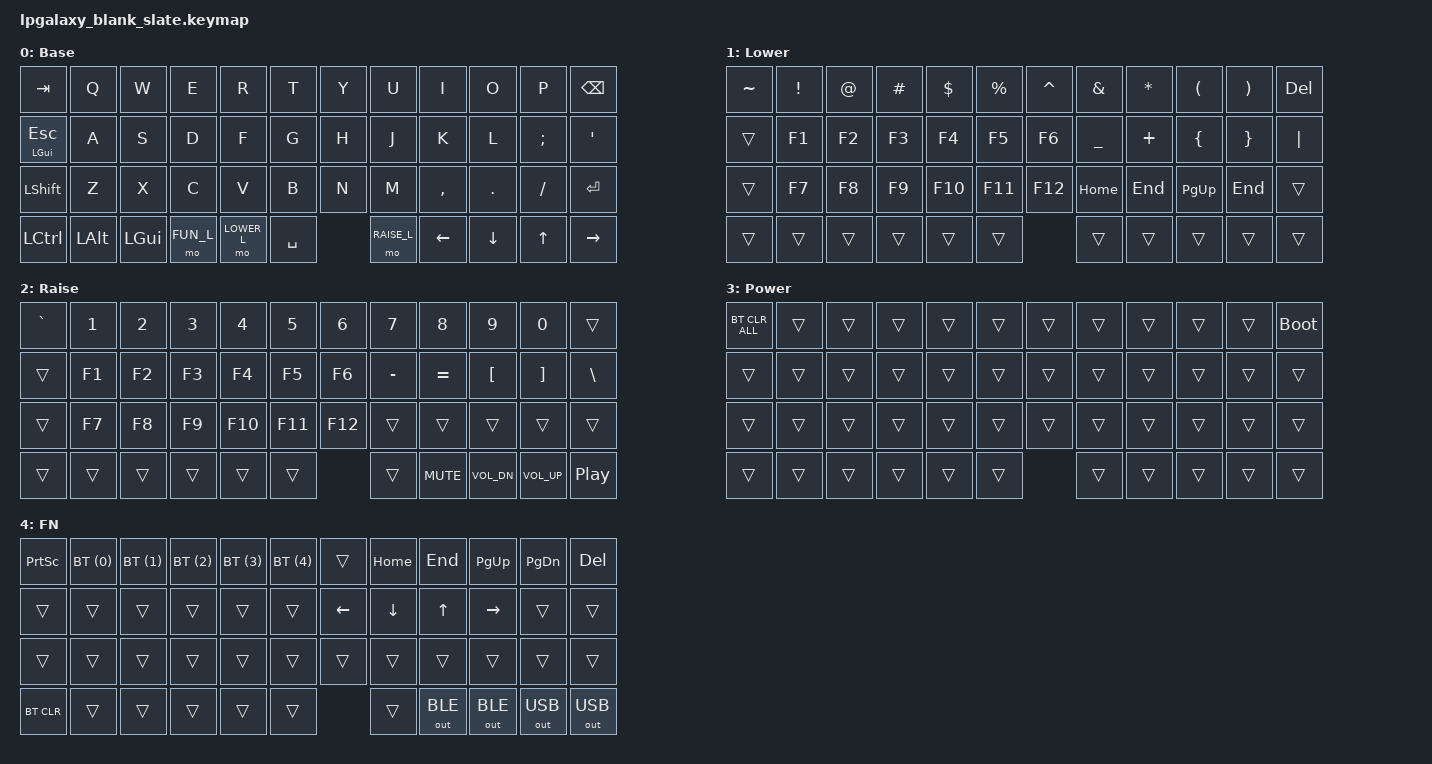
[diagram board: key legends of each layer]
/*
 * Copyright (c) 2022 Pete Johanson
 *
 * SPDX-License-Identifier: MIT
 */

#include <behaviors.dtsi>
#include <dt-bindings/zmk/keys.h>
#include <dt-bindings/zmk/bt.h>
#include <dt-bindings/zmk/outputs.h>

// #define TBLE_ORTHO   1
#define TBLE_MIT     1
// #define TBLE_DUAL_2U 1

#define LOWER_L 1
#define RAISE_L 2
#define POWER_L 3
#define FUN_L 4

// Using layer taps on thumbs, having quick tap as well helps w/ repeating space/backspace
&lt { quick_tap_ms = <200>; };

#define BT(n) BT_SEL n

/ {
    chosen {
       zmk,physical-layout =
#ifdef TBLE_DUAL_2U
                       &layout_ortho_4x12_2x2u;
#elif defined(TBLE_MIT)
                       &layout_ortho_4x12_1x2u;
#else
                       &layout_ortho_4x12_all1u;
#endif
    };

    macros {
      ZMK_MACRO(thumbs_up,
		wait-ms = <1>;
		tap-ms = <5>;
                bindings = <&kp PLUS &kp COLON &kp PLUS &kp N1 &kp COLON &kp RET>;
		)
    };
    
    tap_dances {
    	shifty: shift_caps_word {
            compatible = "zmk,behavior-tap-dance";
            label = "TD_SHIFTY";
            #binding-cells = <0>;
            tapping-term-ms = <150>;
            bindings = <&kp LSHFT>, <&caps_word>;
        };
    };

    conditional_layers {
        compatible = "zmk,conditional-layers";
        tri {
            if-layers = <1 2>;
            then-layer = <3>;
        };
    };

    keymap {
        compatible = "zmk,keymap";

/* Qwerty
 * ,-------------------------------------------------------------------------------------.
 * |  Tab  |   Q  |   W   |   E  |   R  |   T  |   Y  |   U  |   I  |   O  |   P  | Bksp |
 * |-------+------+-------+------+------+------+------+------+------+------+------+------|
 * |GUI/Esc|   A  |   S   |   D  |   F  |   G  |   H  |   J  |   K  |   L  |   ;  |  "   |
 * |-------+------+-------+------+------+------+------+------+------+------+------+------|
 * | Shift |   Z  |   X   |   C  |   V  |   B  |   N  |   M  |   ,  |   .  |   /  |Enter |
 * |-------+------+-------+------+------+------+------+------+------+------+------+------|
 * | Ctrl  | Alt  |NUM/GUI|  FN  |Lower |    Space    |Raise | Left | Down |  Up  |Right |
 * `-------------------------------------------------------------------------------------'
 */
        base_layer {
            label = "Base";
            bindings = <
 &kp TAB        &kp Q      &kp W      &kp E       &kp R          &kp T          &kp Y            &kp U          &kp I       &kp O      &kp P         &kp BKSP
 &mt LGUI ESC   &kp A      &kp S      &kp D       &kp F          &kp G          &kp H            &kp J          &kp K       &kp L      &kp SEMI      &kp QUOT
 &kp LSHFT      &kp Z      &kp X      &kp C       &kp V          &kp B          &kp N            &kp M          &kp COMMA   &kp DOT    &kp FSLH      &kp RET
 &kp LCTRL      &kp LALT   &kp LGUI   &mo FUN_L   &mo LOWER_L          &kp SPACE                 &mo RAISE_L    &kp LEFT    &kp DOWN   &kp UP        &kp RIGHT
            >;
        };


/* Lower
 * ,-----------------------------------------------------------------------------------.
 * |   ~  |   !  |   @  |   #  |   $  |   %  |   ^  |   &  |   *  |   (  |   )  |  Del |
 * |------+------+------+------+------+------+------+------+------+------+------+------|
 * |  Tab |  F1  |  F2  |  F3  |  F4  |  F5  |  F6  |   _  |   +  |   {  |   }  |  |   |
 * |------+------+------+------+------+------+------+------+------+------+------+------|
 * |      |  F7  |  F8  |  F9  |  F10 |  F11 |  F12 | Home | End  |      |      |      |
 * |------+------+------+------+------+------+------+------+------+------+------+------|
 * |      |      |      |      |      |             |      |      |      |      |      |
 * `-----------------------------------------------------------------------------------'
 */
        lower_layer {
            label = "Lower";
            bindings = <
&kp TILDE  &kp EXCL   &kp AT     &kp HASH    &kp DLLR        &kp PERCENT  &kp CARET  &kp AMPS       &kp ASTRK   &kp LPAR   &kp RPAR   &kp DEL
&trans     &kp F1     &kp F2     &kp F3      &kp F4          &kp F5       &kp F6     &kp UNDER      &kp PLUS    &kp LBRC   &kp RBRC   &kp PIPE
&trans     &kp F7     &kp F8     &kp F9      &kp F10         &kp F11      &kp F12    &kp HOME       &kp END     &kp PG_UP  &kp END    &trans
&trans     &trans     &trans     &trans      &trans                 &trans           &trans         &trans      &trans     &trans     &trans
            >;
        };

/* Raise
 * ,-----------------------------------------------------------------------------------.
 * |  `   |   1  |   2  |   3  |   4  |   5  |   6  |   7  |   8  |   9  |   0  | Bksp |
 * |------+------+------+------+------+------+------+------+------+------+------+------|
 * | Tab  |  F1  |  F2  |  F3  |  F4  |  F5  |  F6  |   -  |   =  |   [  |   ]  |  \   |
 * |------+------+------+------+------+------+------+------+------+------+------+------|
 * |      |  F7  |  F8  |  F9  |  F10 |  F11 |  F12 |      |      |      |      |      |
 * |------+------+------+------+------+------+------+------+------+------+------+------|
 * |      |      |      |      |      |             |      | Mute | Vol- | Vol+ | Play |
 * `-----------------------------------------------------------------------------------'
 */
        num_layer {
            label = "Raise";
            bindings = <
&kp GRAVE  &kp N1     &kp N2    &kp N3     &kp N4    &kp N5    &kp N6    &kp N7     &kp N8      &kp N9        &kp N0        &trans
&trans     &kp F1     &kp F2    &kp F3     &kp F4    &kp F5    &kp F6    &kp MINUS  &kp EQUAL   &kp LBKT      &kp RBKT      &kp BSLH
&trans     &kp F7     &kp F8    &kp F9     &kp F10   &kp F11   &kp F12   &trans     &trans      &trans        &trans        &trans
&trans     &trans     &trans    &trans     &trans           &trans       &trans     &kp C_MUTE  &kp C_VOL_DN  &kp C_VOL_UP  &kp C_PLAY_PAUSE
            >;
        };

/* POWER
 * ,-------------------------------------------------------------------------------------.
 * |  Tab  |   Q  |   W   |   E  |   R  |   T  |   Y  |   U  |   I  |   O  |   P  | Bksp |
 * |-------+------+-------+------+------+------+------+------+------+------+------+------|
 * |GUI/Esc|   A  |   S   |   D  |   F  |   G  |   H  |   J  |   K  |   L  |   ;  |  "   |
 * |-------+------+-------+------+------+------+------+------+------+------+------+------|
 * | Shift |   Z  |   X   |   C  |   V  |   B  |   N  |   M  |   ,  |   .  |   /  |Enter |
 * |-------+------+-------+------+------+------+------+------+------+------+------+------|
 * | Ctrl  | Alt  |NUM/GUI|  FN  |Lower |    Space    |Raise | Left | Down |  Up  |Right |
 * `-------------------------------------------------------------------------------------'
 */
        power_layer {
            label = "Power";
            bindings = <
&bt BT_CLR_ALL &trans     &trans     &trans      &trans          &trans       &trans     &trans        &trans      &trans   &trans     &bootloader
&trans         &trans     &trans     &trans      &trans          &trans       &trans     &trans        &trans      &trans   &trans     &trans
&trans         &trans     &trans     &trans      &trans          &trans       &trans     &trans        &trans      &trans   &trans     &trans
&trans         &trans     &trans     &trans      &trans                 &trans           &trans        &trans      &trans   &trans     &trans
            >;
        };

/* FN
 * ,-----------------------------------------------------------------------------------.
 * | PSCR |  BT0 |  BT1 |  BT2 |  BT3 |  BT4 |   Y  | Home | End  | PgUp |PgDown| DEL  |
 * |------+------+------+------+------+------+------+------+------+------+------+------|
 * | GUI  |   A  |   S  |   D  |   F  |   G  | Left | Down |  Up  |Right |      |  "   |
 * |------+------+------+------+------+------+------+------+------+------+------+------|
 * | Shift|   Z  |   X  |   C  |   V  |   B  |   N  |   M  |   ,  |   .  |   /  |Enter |
 * |------+------+------+------+------+------+------+------+------+------+------+------|
 * |BT CLR| Alt  |      |      |Lower |    Space    |Raise | Left | Down |  Up  |Right |
 * `-----------------------------------------------------------------------------------'
 */
        sym_layer {
            label = "FN";
            bindings = <
&kp PSCRN       &bt BT_SEL(0)  &bt BT_SEL(1)  &bt BT_SEL(2)  &bt BT_SEL(3) &bt BT_SEL(4) &trans     &kp HOME   &kp END       &kp PG_UP     &kp PG_DN     &kp DEL
&trans          &trans         &trans         &trans         &trans        &trans        &kp LEFT   &kp DOWN   &kp UP        &kp RIGHT     &trans        &trans
&trans          &trans         &trans         &trans         &trans        &trans        &trans     &trans     &trans        &trans        &trans        &trans
&bt BT_CLR  &trans         &trans         &trans         &trans                &trans           &trans     &out OUT_BLE  &out OUT_BLE  &out OUT_USB  &out OUT_USB
            >;
        };
    };
};

